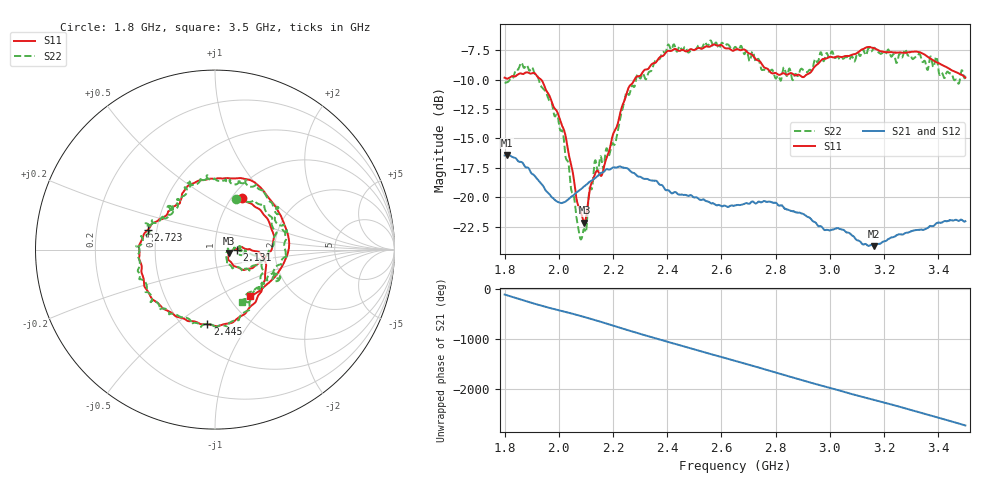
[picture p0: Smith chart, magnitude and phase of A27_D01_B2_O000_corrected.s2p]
! Created with skrf 1.9.0 (http://scikit-rf.org).
# Hz S RI R 50.0
!freq ReS11 ImS11 ReS21 ImS21 ReS12 ImS12 ReS22 ImS22
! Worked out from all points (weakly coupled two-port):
!   1601 points, 1.8 GHz to 3.5 GHz, reference 50 ohm
!   highest |S21| = -16.42 dB at 1.81 GHz (marker M1); lowest = -24.2 dB at 3.163 GHz (marker M2)
!   lowest |S11| = -22.2 dB at 2.094 GHz (marker M3), VSWR 1.17, Z = 58.1 - j2.24 ohm
!   |S11| at or under -10 dB: 1.934 GHz to 2.28 GHz (345.1 MHz wide, 16.4 % of centre)
!   |S22| runs from -23.6 to -6.7 dB; largest |S21 - S12| = 0.0029
!   S11 on the Smith chart (normalised r, x): 1.8 GHz: 1.12, +0.71; 2.131 GHz: 1.28, -0.00; 2.445 GHz: 0.65, -0.66; 2.723 GHz: 0.45, +0.12; 3.5 GHz: 1.25, -0.72
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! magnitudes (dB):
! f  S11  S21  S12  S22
! 1.8 GHz  -9.8  -16.4  -16.5  -10.3
! 1.81 GHz  -9.9  -16.4  -16.4  -10.2
! 1.881 GHz  -9.4  -17.5  -17.5  -8.8
! 1.969 GHz  -11.6  -19.9  -19.9  -11.8
! 2.014 GHz  -14.0  -20.5  -20.5  -14.4
! 2.084 GHz  -21.5  -19.3  -19.2  -23.5
! 2.094 GHz  -22.2  -19.1  -19.1  -22.7
! 2.131 GHz  -18.2  -18.4  -18.4  -17.1
! 2.16 GHz  -18.0  -17.9  -17.8  -17.2
! 2.208 GHz  -14.3  -17.5  -17.5  -15.4
! 2.26 GHz  -10.6  -17.7  -17.7  -11.3
! 2.367 GHz  -8.2  -18.8  -18.8  -8.3
! 2.445 GHz  -7.6  -19.8  -19.8  -7.2
! 2.65 GHz  -7.5  -20.7  -20.7  -7.2
! 2.723 GHz  -8.2  -20.5  -20.5  -8.3
! 2.813 GHz  -9.6  -20.7  -20.6  -9.8
! 2.934 GHz  -9.3  -22.0  -21.9  -9.2
! 2.966 GHz  -8.4  -22.5  -22.5  -7.7
! 3.163 GHz  -7.3  -24.2  -24.1  -7.3
! 3.217 GHz  -7.7  -23.5  -23.5  -7.5
! 3.332 GHz  -7.7  -22.8  -22.8  -7.9
! 3.5 GHz  -9.9  -22.0  -22.0  -9.7
